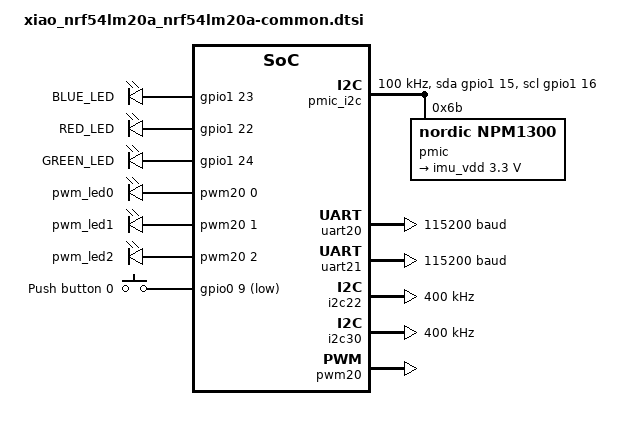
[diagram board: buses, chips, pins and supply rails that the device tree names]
/*
 * Copyright (c) 2025 Seeed Technology Co., Ltd.
 *
 * SPDX-License-Identifier: Apache-2.0
 */

#include "xiao_nrf54lm20a_nrf54lm20a-pinctrl.dtsi"
#include <zephyr/dt-bindings/regulator/npm13xx.h>

/ {
	leds {
		compatible = "gpio-leds";

		blue_led: blue_led {
			gpios = <&gpio1 23 GPIO_ACTIVE_HIGH>;
			label = "BLUE_LED";
		};

		red_led: red_led {
			gpios = <&gpio1 22 GPIO_ACTIVE_HIGH>;
			label = "RED_LED";
		};

		green_led: green_led {
			gpios = <&gpio1 24 GPIO_ACTIVE_HIGH>;
			label = "GREEN_LED";
		};
	};

	pwmleds {
		compatible = "pwm-leds";
		pwm_led0: pwm_led_0 {
			pwms = <&pwm20 0 PWM_MSEC(20) PWM_POLARITY_NORMAL>;
		};
		pwm_led1: pwm_led_1 {
			pwms = <&pwm20 1 PWM_MSEC(20) PWM_POLARITY_NORMAL>;
		};
		pwm_led2: pwm_led_2 {
			pwms = <&pwm20 2 PWM_MSEC(20) PWM_POLARITY_NORMAL>;
		};
	};

	buttons {
		compatible = "gpio-keys";

		button0: button_0 {
			gpios = <&gpio0 9 (GPIO_PULL_UP | GPIO_ACTIVE_LOW)>;
			label = "Push button 0";
			zephyr,code = <INPUT_KEY_0>;
		};
	};

	pmic_i2c: pmic-i2c {
		compatible = "gpio-i2c";
		#address-cells = <1>;
		#size-cells = <0>;
		/* GPIO_OPEN_DRAIN + GPIO_PULL_UP indispensables (diagnostiqué le
		 * 17/08/2026 : mfd_npm13xx_init() échouait avec -EIO de façon 100%
		 * déterministe, y compris avec 500ms de délai de boot ajouté avant --
		 * ce qui a écarté un problème de timing). Le driver i2c_gpio.c ne fait
		 * que gpio_pin_set_dt(pin, state), sans jamais reconfigurer la
		 * direction -- il attend que le pin lui-même soit en open-drain
		 * matériel (écrire 1 = relâche/Hi-Z, écrire 0 = tire à la masse), avec
		 * un pull-up pour remonter à l'état haut au relâchement. Documenté
		 * explicitement dans le commentaire d'en-tête du driver ("the SDA pin
		 * as open-collector/open-drain with a pull-up resistor") -- sans
		 * OPEN_DRAIN, le pin pousse activement le niveau haut (push-pull),
		 * empêchant le PMIC de tirer la ligne à la masse pour acquitter
		 * (ACK) : toute transaction I2C échoue avec -EIO, quel que soit le
		 * délai de boot ajouté avant. Sans PULL_UP en plus, même avec
		 * OPEN_DRAIN, la ligne flotterait au relâchement au lieu de remonter
		 * à l'état haut. */
		sda-gpios = <&gpio1 15 (GPIO_ACTIVE_HIGH | GPIO_OPEN_DRAIN | GPIO_PULL_UP)>;
		scl-gpios = <&gpio1 16 (GPIO_ACTIVE_HIGH | GPIO_OPEN_DRAIN | GPIO_PULL_UP)>;
		clock-frequency = <100000>;
		status = "okay";

		pmic: npm1300@6b {
			compatible = "nordic,npm1300";
			reg = <0x6b>;
			pmic_charger: charger {
				compatible = "nordic,npm1300-charger";
				term-microvolt = <4200000>;
				term-warm-microvolt = <4000000>;
				current-microamp = <150000>;
				dischg-limit-microamp = <1000000>;
				vbus-limit-microamp = <500000>;
				thermistor-ohms = <10000>;
				thermistor-beta = <3380>;
				charging-enable;
			};

			regulators {
				compatible = "nordic,npm1300-regulator";

				imu_vdd: dmic_vdd: LDO1 {
					regulator-init-microvolt = <3300000>;
					regulator-min-microvolt = <3300000>;
					regulator-max-microvolt = <3300000>;
					regulator-initial-mode = <NPM13XX_LDSW_MODE_LDO>;
				};
			};

			pmic_leds: leds {
				compatible = "nordic,npm1300-led";
				nordic,led0-mode = "error";
				nordic,led1-mode = "host";
				nordic,led2-mode = "host";
			};
		};
	};

	aliases {
		led0 = &blue_led;
		led1 = &red_led;
		led2 = &green_led;
		pwm-led0 = &pwm_led0;
		pwm-led1 = &pwm_led1;
		pwm-led2 = &pwm_led2;
		sw0 = &button0;
		watchdog0 = &wdt31;
		imu0 = &lsm6ds3tr_c;
		dmic20 = &pdm20;
	};
};

&uart20 {
	current-speed = <115200>;
	pinctrl-0 = <&uart20_default>;
	pinctrl-1 = <&uart20_sleep>;
	pinctrl-names = "default", "sleep";
};

&uart21 {
	current-speed = <115200>;
	pinctrl-0 = <&uart21_default>;
	pinctrl-1 = <&uart21_sleep>;
	pinctrl-names = "default", "sleep";
};

&i2c22 {
	pinctrl-0 = <&i2c22_default>;
	pinctrl-1 = <&i2c22_sleep>;
	pinctrl-names = "default", "sleep";
	clock-frequency = <400000>;
};

&i2c30 {
	pinctrl-0 = <&i2c30_default>;
	pinctrl-1 = <&i2c30_sleep>;
	pinctrl-names = "default", "sleep";
	clock-frequency = <400000>;
};

&spi23 {
	pinctrl-0 = <&spi23_default>;
	pinctrl-1 = <&spi23_sleep>;
	pinctrl-names = "default", "sleep";
};

&pdm20 {
	pinctrl-0 = <&pdm20_default>;
	pinctrl-1 = <&pdm20_sleep>;
	pinctrl-names = "default", "sleep";
	clock-source = "PCLK32M";
};

&pwm20 {
    status = "okay";
	pinctrl-0 = <&pwm20_default>;
	pinctrl-1 = <&pwm20_sleep>;
	pinctrl-names = "default", "sleep";
};
